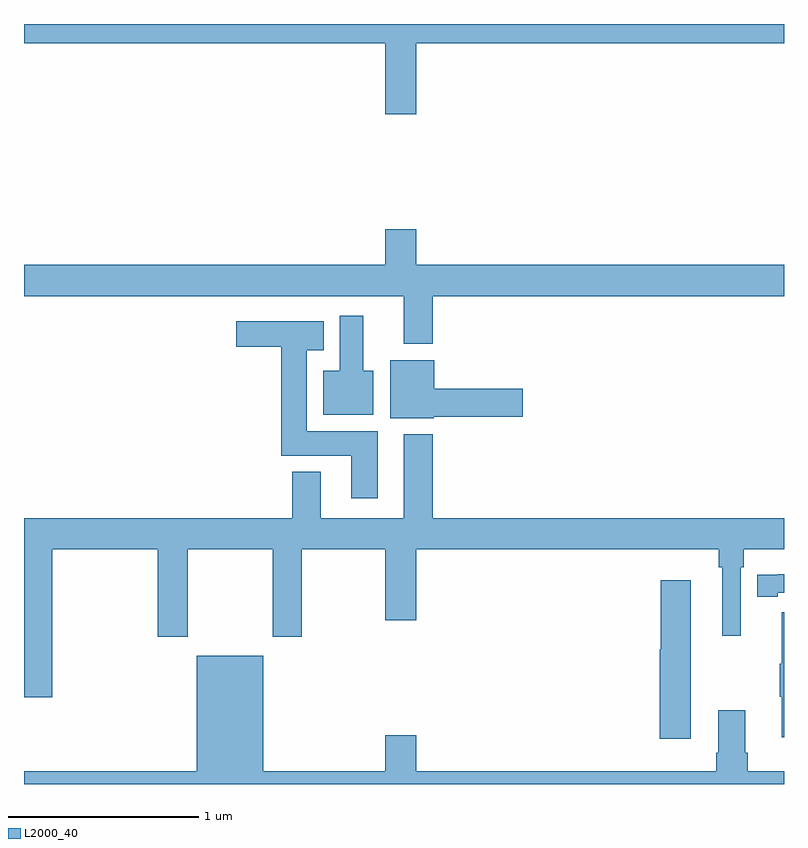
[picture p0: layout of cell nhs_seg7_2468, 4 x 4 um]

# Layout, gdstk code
import gdstk
lib = gdstk.Library(unit=1e-6, precision=1e-09)
def P(c, l, *ps):  # polygons
    for p in ps: c.add(gdstk.Polygon(p, *l))
L2000_40 = (2000, 40)

nhs_seg7_2468 = lib.new_cell('nhs_seg7_2468')
P(nhs_seg7_2468, L2000_40, [(275,1050),(271,1050),(271,1049.9),(272.9,1049.9),(272.9,1049.526),(273.064,1049.526),(273.064,1049.9),(275,1049.9)],
  [(273.152,1048.568),(275,1048.568),(275,1048.732),(273.064,1048.732),(273.064,1048.921),(272.9,1048.921),(272.9,1048.732),(271,1048.732),(271,1048.568),(272.999,1048.568),(272.999,1048.316),(273.152,1048.316)],
  [(272.839,1048.174),(272.785,1048.174),(272.785,1048.465),(272.663,1048.465),(272.663,1048.174),(272.576,1048.174),(272.576,1047.944),(272.839,1047.944)],
  [(272.863,1047.856),(272.488,1047.856),(272.488,1048.283),(272.578,1048.283),(272.578,1048.435),(272.118,1048.435),(272.118,1048.301),(272.354,1048.301),(272.354,1047.728),(272.723,1047.728),(272.723,1047.504),(272.863,1047.504)],
  [(273.156,1047.932),(273.625,1047.932),(273.625,1048.079),(273.16,1048.079),(273.16,1048.231),(272.927,1048.231),(272.927,1047.926),(273.156,1047.926)],
  [(271.148,1047.236),(271.703,1047.236),(271.703,1046.775),(271.863,1046.775),(271.863,1047.236),(272.308,1047.236),(272.308,1046.775),(272.463,1046.775),(272.463,1047.236),(272.9,1047.236),(272.9,1046.862),(273.064,1046.862),(273.064,1047.236),(274.657,1047.236),(274.657,1047.14),(274.676,1047.14),(274.676,1046.781),(274.773,1046.781),(274.773,1047.14),(274.787,1047.14),(274.787,1047.236),(275,1047.236),(275,1047.4),(273.152,1047.4),(273.152,1047.841),(272.999,1047.841),(272.999,1047.4),(272.563,1047.4),(272.563,1047.643),(272.411,1047.643),(272.411,1047.4),(271,1047.4),(271,1046.457),(271.148,1046.457)],
  [(274.966,1047.006),(275,1047.006),(275,1047.103),(274.966,1047.103),(274.966,1047.102),(274.858,1047.102),(274.858,1046.986),(274.966,1046.986)],
  [(274.51,1047.073),(274.352,1047.073),(274.352,1046.709),(274.346,1046.709),(274.346,1046.238),(274.51,1046.238)],
  [(275,1046.905),(274.988,1046.905),(274.988,1046.633),(274.977,1046.633),(274.977,1046.459),(274.988,1046.459),(274.988,1046.247),(275,1046.247)],
  [(275,1046.068),(274.808,1046.068),(274.808,1046.164),(274.795,1046.164),(274.795,1046.389),(274.655,1046.389),(274.655,1046.164),(274.643,1046.164),(274.643,1046.068),(273.064,1046.068),(273.064,1046.257),(272.9,1046.257),(272.9,1046.068),(272.26,1046.068),(272.26,1046.674),(271.91,1046.674),(271.91,1046.068),(271,1046.068),(271,1046),(275,1046)])

lib.write_gds('nhs_seg7_2468.gds')
